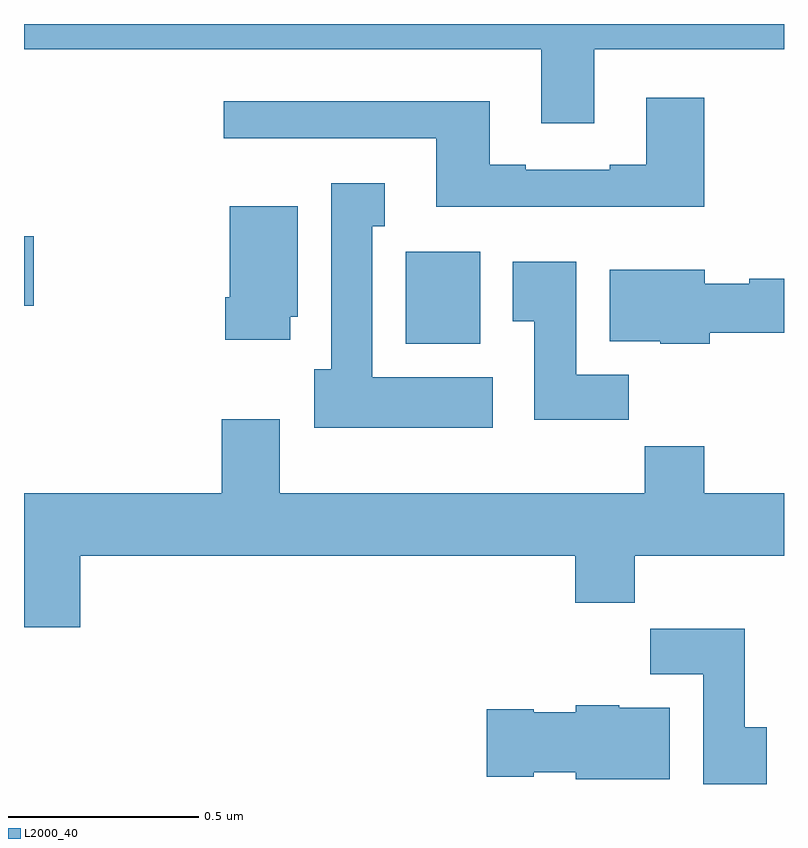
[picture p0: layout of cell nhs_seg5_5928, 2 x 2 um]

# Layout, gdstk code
import gdstk
lib = gdstk.Library(unit=1e-6, precision=1e-09)
def R(c, l, rs):  # rectangles x0, y0, x1, y1
    for r in rs: c.add(gdstk.rectangle(r[:2], r[2:], *l))
def P(c, l, *ps):  # polygons
    for p in ps: c.add(gdstk.Polygon(p, *l))
L2000_40 = (2000, 40)

nhs_seg5_5928 = lib.new_cell('nhs_seg5_5928')
R(nhs_seg5_5928, L2000_40, [(190.004,883.958,190.201,884.2), (189,884.057,189.025,884.24)])
P(nhs_seg5_5928, L2000_40, [(190.501,884.732),(191,884.732),(191,884.799),(189,884.799),(189,884.732),(190.361,884.732),(190.361,884.538),(190.501,884.538)],
  [(190.79,884.605),(190.637,884.605),(190.637,884.428),(190.541,884.428),(190.541,884.415),(190.321,884.415),(190.321,884.428),(190.225,884.428),(190.225,884.596),(189.525,884.596),(189.525,884.499),(190.085,884.499),(190.085,884.318),(190.79,884.318)],
  [(190.234,883.87),(189.916,883.87),(189.916,884.267),(189.949,884.267),(189.949,884.38),(189.809,884.38),(189.809,883.89),(189.764,883.89),(189.764,883.736),(190.234,883.736)],
  [(189.7,884.028),(189.721,884.028),(189.721,884.32),(189.542,884.32),(189.542,884.08),(189.53,884.08),(189.53,883.968),(189.7,883.968)],
  [(190.592,883.876),(190.453,883.876),(190.453,884.173),(190.286,884.173),(190.286,884.017),(190.343,884.017),(190.343,883.758),(190.592,883.758)],
  [(190.805,883.987),(191,883.987),(191,884.129),(190.908,884.129),(190.908,884.116),(190.792,884.116),(190.792,884.152),(190.541,884.152),(190.541,883.964),(190.674,883.964),(190.674,883.958),(190.805,883.958)],
  [(189.148,883.4),(190.451,883.4),(190.451,883.276),(190.607,883.276),(190.607,883.4),(191,883.4),(191,883.564),(190.79,883.564),(190.79,883.688),(190.633,883.688),(190.633,883.564),(189.673,883.564),(189.673,883.759),(189.521,883.759),(189.521,883.564),(189,883.564),(189,883.212),(189.148,883.212)],
  [(190.954,882.948),(190.897,882.948),(190.897,883.207),(190.648,883.207),(190.648,883.088),(190.787,883.088),(190.787,882.799),(190.954,882.799)],
  [(190.699,883),(190.566,883),(190.566,883.006),(190.452,883.006),(190.452,882.988),(190.341,882.988),(190.341,882.996),(190.218,882.996),(190.218,882.818),(190.341,882.818),(190.341,882.83),(190.452,882.83),(190.452,882.812),(190.699,882.812)])

lib.write_gds('nhs_seg5_5928.gds')
